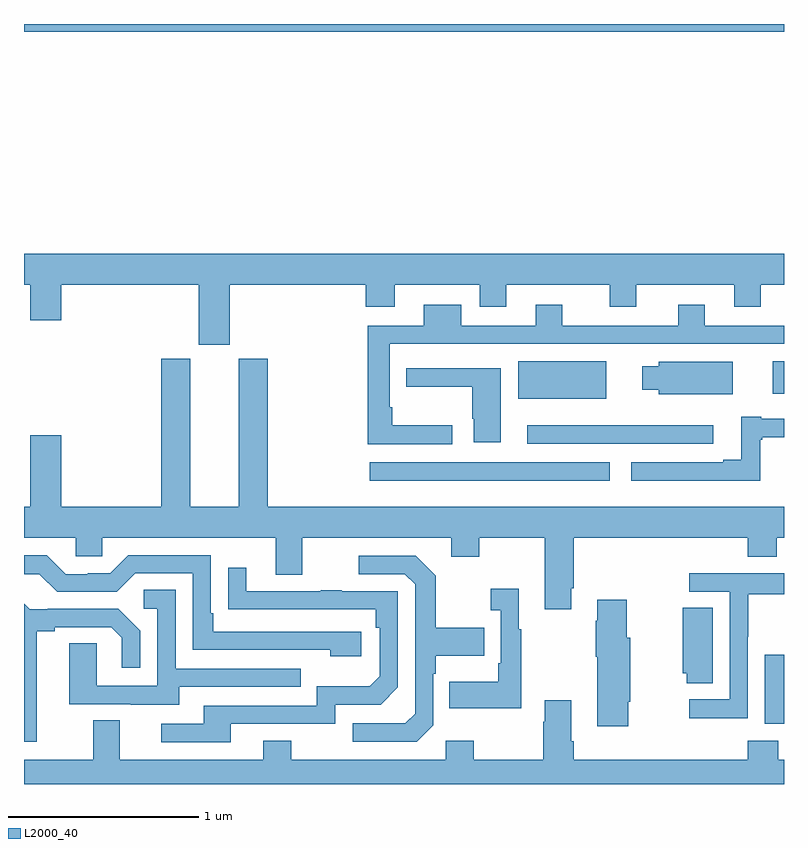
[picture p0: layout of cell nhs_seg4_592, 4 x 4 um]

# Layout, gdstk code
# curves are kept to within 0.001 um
import gdstk
lib = gdstk.Library(unit=1e-6, precision=1e-09)
def R(c, l, rs):  # rectangles x0, y0, x1, y1
    for r in rs: c.add(gdstk.rectangle(r[:2], r[2:], *l))
def P(c, l, *ps):  # polygons
    for p in ps: c.add(gdstk.Polygon(p, *l))
L2000_40 = (2000, 40)

nhs_seg4_592 = lib.new_cell('nhs_seg4_592')
R(nhs_seg4_592, L2000_40, [(144.899,753.218,145,753.579), (142.821,754.496,144.082,754.593), (143.649,754.692,144.628,754.789), (143.6,754.928,144.064,755.125), (144.941,754.955,145,755.125), (141,756.86,145,756.9)])
P(nhs_seg4_592, L2000_40, [(141,755.528),(141.032,755.528),(141.032,755.34),(141.196,755.34),(141.196,755.528),(141.92,755.528),(141.92,755.211),(142.084,755.211),(142.084,755.528),(142.799,755.528),(142.799,755.411),(142.951,755.411),(142.951,755.528),(143.399,755.528),(143.399,755.411),(143.539,755.411),(143.539,755.528),(144.083,755.528),(144.083,755.411),(144.223,755.411),(144.223,755.528),(144.737,755.528),(144.737,755.411),(144.877,755.411),(144.877,755.528),(145,755.528),(145,755.692),(141,755.692)],
  [(143.254,754.787),(142.939,754.787),(142.939,754.882),(142.926,754.882),(142.926,755.217),(145,755.217),(145,755.313),(144.583,755.313),(144.583,755.422),(144.443,755.422),(144.443,755.313),(143.833,755.313),(143.833,755.422),(143.693,755.422),(143.693,755.313),(143.302,755.313),(143.302,755.422),(143.105,755.422),(143.105,755.313),(142.81,755.313),(142.81,754.689),(143.254,754.689)],
  [(144.73,755.122),(144.342,755.122),(144.342,755.098),(144.254,755.098),(144.254,754.976),(144.342,754.976),(144.342,754.952),(144.73,754.952)],
  [(143.509,755.088),(143.119,755.088),(143.119,755.087),(143.011,755.087),(143.011,754.991),(143.359,754.991),(143.359,754.822),(143.366,754.822),(143.366,754.7),(143.509,754.7)],
  [(144.874,754.713),(144.886,754.713),(144.886,754.724),(145,754.724),(145,754.822),(144.88,754.822),(144.88,754.834),(144.776,754.834),(144.776,754.606),(144.68,754.606),(144.68,754.593),(144.195,754.593),(144.195,754.496),(144.874,754.496)],
  [(142.283,755.139),(142.13,755.139),(142.13,754.36),(141.874,754.36),(141.874,755.139),(141.722,755.139),(141.722,754.36),(141.196,754.36),(141.196,754.735),(141.032,754.735),(141.032,754.36),(141,754.36),(141,754.196),(141.273,754.196),(141.273,754.098),(141.411,754.098),(141.411,754.196),(142.325,754.196),(142.325,754.002),(142.465,754.002),(142.465,754.196),(143.249,754.196),(143.249,754.097),(143.397,754.097),(143.397,754.196),(143.741,754.196),(143.741,753.819),(143.881,753.819),(143.881,753.931),(143.894,753.931),(143.894,754.196),(144.809,754.196),(144.809,754.097),(144.961,754.097),(144.961,754.196),(145,754.196),(145,754.36),(142.283,754.36)],
  [(142.774,753.702),(141.997,753.702),(141.997,753.799),(141.984,753.799),(141.984,754.104),(141.549,754.104),(141.453,754.008),(141.335,754.008),(141.335,754.005),(141.219,754.005),(141.119,754.105),(141,754.105),(141,754.005),(141.081,754.005),(141.174,753.912),(141.489,753.912),(141.585,754.008),(141.888,754.008),(141.888,753.606),(142.613,753.606),(142.613,753.572),(142.774,753.572)],
  [(143.154,753.21),(143.154,753.479),(143.167,753.479),(143.167,753.575),(143.423,753.575),(143.423,753.723),(143.167,753.723),(143.167,753.995),(143.061,754.101),(142.761,754.101),(142.761,754.005),(143.004,754.005),(143.058,753.951),(143.058,753.27),(143.007,753.219),(142.731,753.219),(142.731,753.123),(143.067,753.123)],
  [(142.087,753.216),(142.638,753.216),(142.638,753.318),(142.878,753.318),(142.968,753.408),(142.968,753.915),(142.673,753.915),(142.673,753.92),(142.561,753.92),(142.561,753.915),(142.171,753.915),(142.171,754.039),(142.075,754.039),(142.075,753.82),(142.852,753.819),(142.852,753.722),(142.872,753.722),(142.872,753.468),(142.819,753.415),(142.542,753.415),(142.542,753.312),(141.947,753.312),(141.947,753.216),(141.723,753.216),(141.723,753.12),(142.087,753.12)],
  [(144.714,753.912),(144.714,753.345),(144.501,753.345),(144.501,753.247),(144.81,753.247),(144.81,753.676),(144.813,753.676),(144.813,753.9),(145,753.9),(145,754.008),(144.501,754.008),(144.501,753.912)],
  [(143.617,753.715),(143.605,753.715),(143.605,753.928),(143.457,753.928),(143.457,753.815),(143.508,753.815),(143.508,753.535),(143.496,753.535),(143.496,753.439),(143.239,753.439),(143.239,753.299),(143.617,753.299)],
  [(141.817,753.411),(142.457,753.411),(142.457,753.507),(141.798,753.507),(141.798,753.923),(141.63,753.923),(141.63,753.822),(141.702,753.822),(141.702,753.417),(141.384,753.417),(141.384,753.641),(141.239,753.641),(141.239,753.321),(141.563,753.321),(141.563,753.317),(141.817,753.317)],
  [(144.18,753.333),(144.19,753.333),(144.19,753.669),(144.172,753.669),(144.172,753.871),(144.017,753.871),(144.017,753.758),(144.01,753.758),(144.01,753.569),(144.017,753.569),(144.017,753.204),(144.18,753.204)],
  [(141.067,753.704),(141.163,753.704),(141.163,753.726),(141.458,753.726),(141.515,753.669),(141.515,753.513),(141.612,753.513),(141.612,753.706),(141.496,753.822),(141.124,753.822),(141.124,753.819),(141.03,753.819),(141,753.849),(141,753.123),(141.067,753.123)],
  [(144.625,753.827),(144.467,753.827),(144.467,753.483),(144.487,753.483),(144.487,753.43),(144.625,753.43)],
  [(145,753.028),(144.969,753.028),(144.969,753.127),(144.809,753.127),(144.809,753.028),(143.894,753.028),(143.894,753.124),(143.881,753.124),(143.881,753.34),(143.741,753.34),(143.741,753.227),(143.734,753.227),(143.734,753.028),(143.367,753.028),(143.367,753.127),(143.22,753.127),(143.22,753.028),(142.407,753.028),(142.407,753.127),(142.259,753.127),(142.259,753.028),(141.505,753.028),(141.505,753.236),(141.365,753.236),(141.365,753.028),(141,753.028),(141,752.9),(145,752.9)])

lib.write_gds('nhs_seg4_592.gds')
